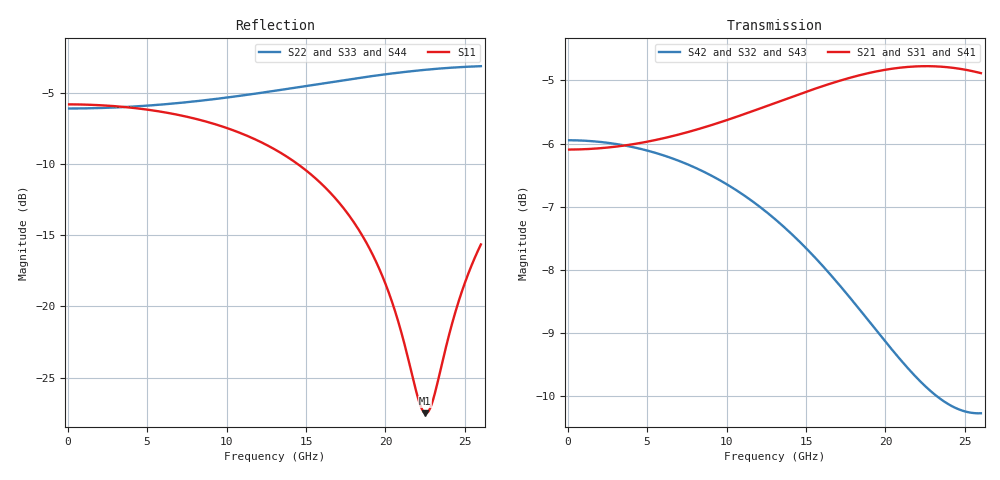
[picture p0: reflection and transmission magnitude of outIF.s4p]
!Created with skrf (http://scikit-rf.org).
# GHz S RI R 50.0
!freq
! ReS14 ImS14
! ReS24 ImS24
! ReS34 ImS34
! ReS44 ImS44
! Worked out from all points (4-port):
!   260 points, 100 MHz to 26 GHz, reference 50 ohm
!   strongest paths, dB at 100 MHz, 6.6 GHz, 13.1 GHz, 19.6 GHz, 26 GHz:
!     S21: -6.1, -5.9, -5.4, -4.8, -4.9
!     S31: -6.1, -5.9, -5.4, -4.9, -4.9
!     S41: -6.1, -5.9, -5.4, -4.9, -4.9
!     S42: -5.9, -6.2, -7.2, -9.0, -10.3
!     S32: -5.9, -6.2, -7.2, -9.0, -10.3
!     S43: -5.9, -6.2, -7.3, -9.1, -10.2
!   lowest |S11| = -27.5 dB at 22.5 GHz (marker M1), VSWR 1.09, Z = 53 - j3.14 ohm
!   |S11| at or under -10 dB: 14.48 GHz to end of sweep
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0.1  0.5126 -0.00443  0.4957 -0.00318  -0.4957 0.00324  0.4957 -0.00324
     0.4957 -0.00318  0.4958 0.000582  0.5042 -0.000837  -0.5042 0.000849
     -0.4957 0.00324  0.5042 -0.000837  0.4958 0.000585  0.5042 -0.000796
     0.4957 -0.00324  -0.5042 0.000849  0.5042 -0.000796  0.4958 0.000565
4.2  0.4652 -0.1771  0.4824 -0.1343  -0.4818 0.1363  0.4817 -0.1367
     0.4824 -0.1343  0.5034 0.0238  0.4964 -0.0345  -0.4964 0.035
     -0.4818 0.1363  0.4964 -0.0345  0.5036 0.0239  0.4963 -0.0327
     0.4817 -0.1367  -0.4964 0.035  0.4963 -0.0327  0.5037 0.023
8.7  0.323 -0.308  0.4338 -0.2807  -0.4312 0.2845  0.4308 -0.2852
     0.4338 -0.2807  0.5287 0.0442  0.4705 -0.0662  -0.4704 0.0671
     -0.4312 0.2845  0.4705 -0.0662  0.5298 0.0439  0.47 -0.0622
     0.4308 -0.2852  -0.4704 0.0671  0.47 -0.0622  0.5299 0.0421
15.5  0.0542 -0.2798  0.2596 -0.4889  -0.2517 0.4928  0.2504 -0.4934
      0.2596 -0.4889  0.599 0.0461  0.3991 -0.084  -0.3988 0.0854
      -0.2517 0.4928  0.3991 -0.084  0.6012 0.0431  0.3981 -0.0756
      0.2504 -0.4934  -0.3988 0.0854  0.3981 -0.0756  0.6015 0.0395
19.4  -0.0121 -0.1434  0.0914 -0.5643  -0.0801 0.5656  0.0782 -0.5658
      0.0914 -0.5643  0.6469 0.0176  0.3509 -0.0641  -0.3506 0.0657
      -0.0801 0.5656  0.3509 -0.0641  0.6488 0.012  0.3503 -0.0525
      0.0782 -0.5658  -0.3506 0.0657  0.3503 -0.0525  0.6489 0.00721
22.5  0.0301 -0.0296  -0.0668 -0.5733  0.08 0.5711  -0.0821 -0.5707
      -0.0668 -0.5733  0.6776 -0.0234  0.3205 -0.0298  -0.3203 0.0316
      0.08 0.5711  0.3205 -0.0298  0.6779 -0.0313  0.3209 -0.0155
      -0.0821 -0.5707  -0.3203 0.0316  0.3209 -0.0155  0.6777 -0.0371
26  0.1629 0.027  -0.2408 -0.5165  0.2542 0.5093  -0.2564 -0.5081
    -0.2408 -0.5165  0.6932 -0.0829  0.3057 0.0218  -0.3057 -0.0198
    0.2542 0.5093  0.3057 0.0218  0.6907 -0.0927  0.308 0.0386
    -0.2564 -0.5081  -0.3057 -0.0198  0.308 0.0386  0.6899 -0.0995
